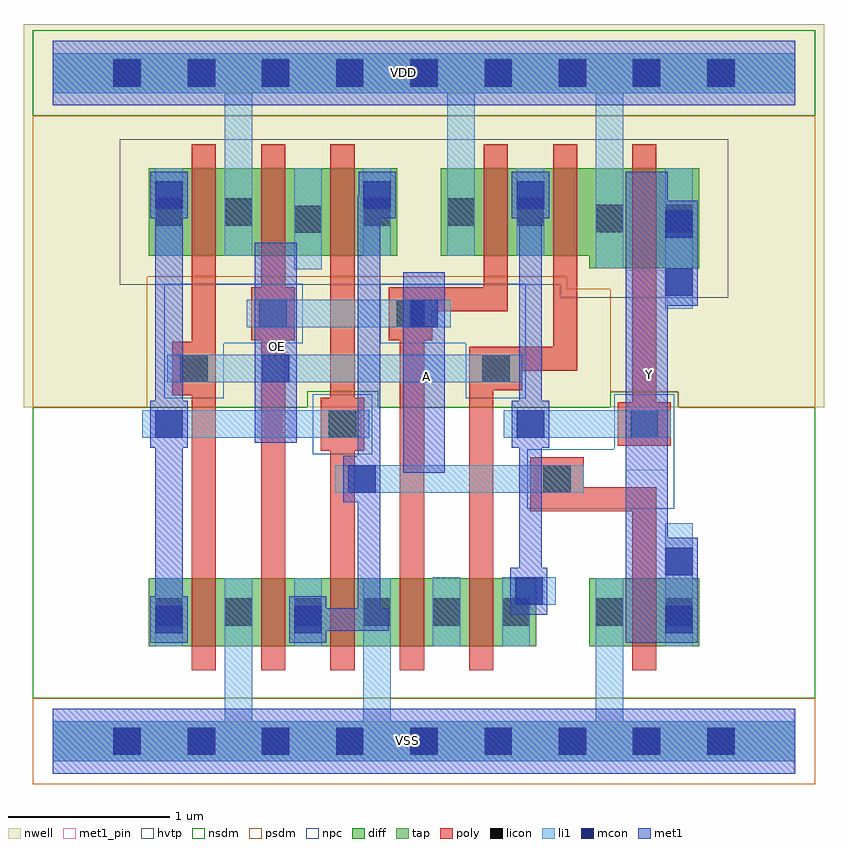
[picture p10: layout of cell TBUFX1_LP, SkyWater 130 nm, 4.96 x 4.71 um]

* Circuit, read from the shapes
.subckt TBUFX1_LP A OE VDD VSS Y
XM1 VSS OE n1 VSS sky130_fd_pr__nfet_01v8 w=0.42 l=0.15
XM2 n2 A VSS VSS sky130_fd_pr__nfet_01v8 w=0.42 l=0.15
XM3 VSS n1 n2 VSS sky130_fd_pr__nfet_01v8 w=0.42 l=0.15
XM4 n3 A VSS VSS sky130_fd_pr__nfet_01v8 w=0.42 l=0.15
XM5 n4 OE n3 VSS sky130_fd_pr__nfet_01v8 w=0.42 l=0.15
XM6 Y n2 VSS VSS sky130_fd_pr__nfet_01v8 w=0.42 l=0.15
XM7 VDD OE n1 VDD sky130_fd_pr__pfet_01v8_hvt w=0.54 l=0.15
XM8 n5 A VDD VDD sky130_fd_pr__pfet_01v8_hvt w=0.54 l=0.15
XM9 n2 n1 n5 VDD sky130_fd_pr__pfet_01v8_hvt w=0.54 l=0.15
XM10 n4 A VDD VDD sky130_fd_pr__pfet_01v8_hvt w=0.54 l=0.15
XM11 VDD OE n4 VDD sky130_fd_pr__pfet_01v8_hvt w=0.54 l=0.15
XM12 Y n4 VDD VDD sky130_fd_pr__pfet_01v8_hvt w=0.62 l=0.15
.ends

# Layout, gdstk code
import gdstk
lib = gdstk.Library(unit=1e-6, precision=1e-09)
def R(c, l, rs):  # rectangles x0, y0, x1, y1
    for r in rs: c.add(gdstk.rectangle(r[:2], r[2:], *l))
def A(c, l, x, y, w, h, nx, ny, dx, dy):  # array of equal rectangles
    R(c, l, [(x+i*dx, y+j*dy, x+i*dx+w, y+j*dy+h) for i in range(nx) for j in range(ny)])
def P(c, l, *ps):  # polygons
    for p in ps: c.add(gdstk.Polygon(p, *l))
nwell = (64, 20)
diff = (65, 20)
tap = (65, 44)
poly = (66, 20)
licon = (66, 44)
li1 = (67, 20)
mcon = (67, 44)
met1_pin = (68, 16)
met1 = (68, 20)
hvtp = (78, 44)
nsdm = (93, 44)
psdm = (94, 20)
npc = (95, 20)

pyl1con_c_cdns_758729379 = lib.new_cell('PYL1CON_C_CDNS_758729379653')
R(pyl1con_c_cdns_758729379, poly, [(-0.135,-0.165,0.135,0.165)])
R(pyl1con_c_cdns_758729379, licon, [(-0.085,-0.085,0.085,0.085)])
R(pyl1con_c_cdns_758729379, npc, [(-0.185,-0.185,0.185,0.185)])

c_pyl1con_c_cdns_758729379 = lib.new_cell('PYL1CON_C_CDNS_7587293796514')
R(c_pyl1con_c_cdns_758729379, poly, [(-0.165,-0.135,0.165,0.135)])
R(c_pyl1con_c_cdns_758729379, licon, [(-0.085,-0.085,0.085,0.085)])
R(c_pyl1con_c_cdns_758729379, npc, [(-0.185,-0.185,0.185,0.185)])

l1m1_c_cdns_758729379659 = lib.new_cell('L1M1_C_CDNS_758729379659')
R(l1m1_c_cdns_758729379659, li1, [(-0.085,-0.345,0.085,0.345)])
R(l1m1_c_cdns_758729379659, mcon, [(-0.085,-0.265,0.085,-0.095), (-0.085,0.095,0.085,0.265)])
R(l1m1_c_cdns_758729379659, met1, [(-0.115,-0.325,0.115,0.325)])

l1m1_c_cdns_758729379655 = lib.new_cell('L1M1_C_CDNS_758729379655')
R(l1m1_c_cdns_758729379655, li1, [(-0.085,-0.165,0.085,0.165)])
R(l1m1_c_cdns_758729379655, mcon, [(-0.085,-0.085,0.085,0.085)])
R(l1m1_c_cdns_758729379655, met1, [(-0.115,-0.145,0.115,0.145)])

l1m1_c_cdns_758729379654 = lib.new_cell('L1M1_C_CDNS_758729379654')
R(l1m1_c_cdns_758729379654, li1, [(-0.165,-0.085,0.165,0.085)])
R(l1m1_c_cdns_758729379654, mcon, [(-0.085,-0.085,0.085,0.085)])
R(l1m1_c_cdns_758729379654, met1, [(-0.115,-0.145,0.115,0.145)])

licondiff_c_cdns_7587293 = lib.new_cell('LICONDIFF_C_CDNS_758729379657')
R(licondiff_c_cdns_7587293, diff, [(-0.125,-0.145,0.125,0.145)])
R(licondiff_c_cdns_7587293, licon, [(-0.085,-0.085,0.085,0.085), (-0.085,-0.085,0.085,0.085)])

tbufx1_lp = lib.new_cell('TBUFX1_LP')
R(tbufx1_lp, nwell, [(-0.18,2.07,4.78,4.445)])
R(tbufx1_lp, diff, [(0.595,0.59,2.995,1.01), (3.325,0.59,4.005,1.01), (0.595,3.01,2.135,3.55)])
P(tbufx1_lp, diff, [(4.005,3.55),(2.405,3.55),(2.405,3.01),(3.325,3.01),(3.325,2.93),(4.005,2.93)])
A(tbufx1_lp, poly, 0.86, 0.44, 0.15, 3.26, 3, 1, 0.43, 0)
R(tbufx1_lp, poly, [(3.59,1.88,3.74,3.7)])
P(tbufx1_lp, poly, [(2.82,3.7),(2.67,3.7),(2.67,2.815),(2.225,2.815),(2.225,2.775),(2.15,2.775),(2.15,0.44),(2.3,0.44),(2.3,2.665),(2.82,2.665)],
  [(3.25,3.7),(3.1,3.7),(3.1,2.445),(2.58,2.445),(2.58,0.44),(2.73,0.44),(2.73,2.295),(3.25,2.295)],
  [(3.74,1.575),(2.96,1.575),(2.96,1.425),(3.59,1.425),(3.59,0.44),(3.74,0.44)])
A(tbufx1_lp, licon, 0.375, -0.085, 0.17, 0.17, 9, 2, 0.46, 4.14)
A(tbufx1_lp, licon, 0.635, 0.715, 0.17, 0.17, 4, 1, 0.43, 0)
R(tbufx1_lp, licon, [(2.785,0.715,2.955,0.885), (3.365,0.715,3.535,0.885), (3.795,0.715,3.965,0.885), (3.365,3.155,3.535,3.325), (3.795,3.155,3.965,3.325), (0.635,3.195,0.805,3.365), (1.065,3.195,1.235,3.365), (1.925,3.195,2.095,3.365), (2.445,3.195,2.615,3.365), (2.875,3.195,3.045,3.365)])
R(tbufx1_lp, li1, [(0.635,0.59,0.805,1.01), (1.495,0.59,1.665,1.01), (2.785,0.59,2.955,1.01), (3.795,0.59,3.965,1.35), (3.795,2.93,3.965,3.55), (0.635,3.01,0.805,3.55), (1.925,3.01,2.095,3.55), (2.875,3.01,3.045,3.55)])
P(tbufx1_lp, li1, [(4.6,4.265),(0,4.265),(0,4.015),(1.065,4.015),(1.065,3.01),(1.235,3.01),(1.235,4.015),(2.445,4.015),(2.445,3.01),(2.615,3.01),(2.615,4.015),(3.365,4.015),(3.365,2.93),(3.535,2.93),(3.535,4.015),(4.6,4.015)],
  [(4.6,0.125),(3.535,0.125),(3.535,1.01),(3.365,1.01),(3.365,0.125),(2.095,0.125),(2.095,1.01),(1.925,1.01),(1.925,0.125),(1.235,0.125),(1.235,1.01),(1.065,1.01),(1.065,0.125),(0,0.125),(0,-0.125),(4.6,-0.125)])
A(tbufx1_lp, mcon, 0.375, -0.085, 0.17, 0.17, 9, 2, 0.46, 4.14)
R(tbufx1_lp, met1_pin, [(2.17,1.665,2.43,2.905), (3.55,1.68,3.81,2.92), (1.25,1.85,1.51,3.09)])
P(tbufx1_lp, met1, [(2.08,0.825),(2.03,0.825),(2.03,3.385),(1.89,3.385),(1.89,0.825),(1.58,0.825),(1.58,0.685),(2.08,0.685)])
P(tbufx1_lp, hvtp, [(4.185,3.73),(0.415,3.73),(0.415,2.83),(3.145,2.83),(3.145,2.75),(4.185,2.75)])
R(tbufx1_lp, nsdm, [(-0.125,3.875,4.725,4.405)])
P(tbufx1_lp, nsdm, [(4.725,2.07),(3.875,2.07),(3.875,2.165),(3.455,2.165),(3.455,2.07),(2.015,2.07),(2.015,2.17),(1.575,2.17),(1.575,2.07),(-0.125,2.07),(-0.125,0.265),(4.725,0.265)])
R(tbufx1_lp, psdm, [(-0.125,-0.265,4.725,0.265)])
P(tbufx1_lp, psdm, [(4.725,3.875),(-0.125,3.875),(-0.125,2.07),(0.585,2.07),(0.585,2.88),(3.185,2.88),(3.185,2.8),(3.455,2.8),(3.455,2.165),(3.875,2.165),(3.875,2.07),(4.725,2.07)])
R(tbufx1_lp, npc, [(0.69,2.465,1.55,2.835), (2.03,2.465,2.93,2.835)])
P(tbufx1_lp, npc, [(3.85,2.15),(3.48,2.15),(3.48,1.81),(2.94,1.81),(2.94,1.44),(3.85,1.44)])
tbufx1_lp.add(gdstk.FlexPath([(1.58,2.925),(1.58,3.55)], 0.17, ends="flush", simple_path=True, layer=67, datatype=20))  # li1
tbufx1_lp.add(gdstk.FlexPath([(2.96,1.965),(3.83,1.965)], 0.17, ends="flush", simple_path=True, layer=67, datatype=20))  # li1
tbufx1_lp.add(gdstk.FlexPath([(3.29,1.625),(2.01,1.625)], 0.17, ends="flush", simple_path=True, layer=67, datatype=20))  # li1
tbufx1_lp.add(gdstk.FlexPath([(1.96,1.965),(0.72,1.965)], 0.17, ends="flush", simple_path=True, layer=67, datatype=20))  # li1
tbufx1_lp.add(gdstk.FlexPath([(2.44,0.59),(2.44,1.015)], 0.17, ends="flush", simple_path=True, layer=67, datatype=20))  # li1
tbufx1_lp.add(gdstk.FlexPath([(2.91,2.31),(0.71,2.31)], 0.17, ends="flush", simple_path=True, layer=67, datatype=20))  # li1
tbufx1_lp.add(gdstk.FlexPath([(2.45,2.65),(1.2,2.65)], 0.17, ends="flush", simple_path=True, layer=67, datatype=20))  # li1
tbufx1_lp.add(gdstk.FlexPath([(0,4.14),(4.6,4.14)], 0.25, ends="flush", simple_path=True, layer=65, datatype=44))  # tap
tbufx1_lp.add(gdstk.FlexPath([(0,0),(4.6,0)], 0.25, ends="flush", simple_path=True, layer=65, datatype=44))  # tap
tbufx1_lp.add(gdstk.FlexPath([(0,0),(4.59,0)], 0.4, ends="flush", simple_path=True, layer=68, datatype=16))  # met1_pin
tbufx1_lp.add(gdstk.FlexPath([(0,4.14),(4.6,4.14)], 0.4, ends="flush", simple_path=True, layer=68, datatype=16))  # met1_pin
tbufx1_lp.add(gdstk.FlexPath([(0,4.14),(4.6,4.14)], 0.4, ends="flush", simple_path=True, layer=68, datatype=20))  # met1
tbufx1_lp.add(gdstk.FlexPath([(0,0),(4.6,0)], 0.4, ends="flush", simple_path=True, layer=68, datatype=20))  # met1
tbufx1_lp.add(gdstk.FlexPath([(1.38,1.85),(1.38,3.09)], 0.26, ends="flush", simple_path=True, layer=68, datatype=20))  # met1
tbufx1_lp.add(gdstk.FlexPath([(3.68,0.61),(3.68,3.53)], 0.26, ends="flush", simple_path=True, layer=68, datatype=20))  # met1
tbufx1_lp.add(gdstk.FlexPath([(0.72,0.755),(0.72,3.385)], 0.17, ends="flush", simple_path=True, layer=68, datatype=20))  # met1
tbufx1_lp.add(gdstk.FlexPath([(2.3,1.665),(2.3,2.905)], 0.26, ends="flush", simple_path=True, layer=68, datatype=20))  # met1
tbufx1_lp.add(gdstk.FlexPath([(2.96,0.93),(2.96,3.385)], 0.14, ends="flush", simple_path=True, layer=68, datatype=20))  # met1
tbufx1_lp.add(gdstk.Reference(pyl1con_c_cdns_758729379, (1.795,1.965), x_reflection=True))
tbufx1_lp.add(gdstk.Reference(pyl1con_c_cdns_758729379, (2.215,2.65), x_reflection=True))
tbufx1_lp.add(gdstk.Reference(pyl1con_c_cdns_758729379, (0.875,2.31), x_reflection=True))
tbufx1_lp.add(gdstk.Reference(pyl1con_c_cdns_758729379, (1.365,2.65), x_reflection=True))
tbufx1_lp.add(gdstk.Reference(c_pyl1con_c_cdns_758729379, (3.125,1.625), x_reflection=True))
tbufx1_lp.add(gdstk.Reference(c_pyl1con_c_cdns_758729379, (3.665,1.965), x_reflection=True))
tbufx1_lp.add(gdstk.Reference(c_pyl1con_c_cdns_758729379, (2.745,2.31), x_reflection=True))
tbufx1_lp.add(gdstk.Reference(l1m1_c_cdns_758729379659, (3.88,3.025)))
tbufx1_lp.add(gdstk.Reference(l1m1_c_cdns_758729379659, (3.88,0.935)))
tbufx1_lp.add(gdstk.Reference(l1m1_c_cdns_758729379655, (0.72,3.385)))
tbufx1_lp.add(gdstk.Reference(l1m1_c_cdns_758729379655, (0.72,0.755)))
tbufx1_lp.add(gdstk.Reference(l1m1_c_cdns_758729379655, (2.01,3.385)))
tbufx1_lp.add(gdstk.Reference(l1m1_c_cdns_758729379655, (2.96,3.385)))
tbufx1_lp.add(gdstk.Reference(l1m1_c_cdns_758729379655, (1.58,0.755)))
tbufx1_lp.add(gdstk.Reference(l1m1_c_cdns_758729379654, (1.38,2.31), x_reflection=True))
tbufx1_lp.add(gdstk.Reference(l1m1_c_cdns_758729379654, (2.95,0.93)))
tbufx1_lp.add(gdstk.Reference(l1m1_c_cdns_758729379654, (2.96,1.965)))
tbufx1_lp.add(gdstk.Reference(l1m1_c_cdns_758729379654, (0.72,1.965)))
tbufx1_lp.add(gdstk.Reference(l1m1_c_cdns_758729379654, (2.3,2.65), x_reflection=True))
tbufx1_lp.add(gdstk.Reference(l1m1_c_cdns_758729379654, (1.915,1.625)))
tbufx1_lp.add(gdstk.Reference(licondiff_c_cdns_7587293, (1.58,3.235)))
tbufx1_lp.add(gdstk.Reference(licondiff_c_cdns_7587293, (2.44,0.8)))
tbufx1_lp.add(gdstk.Label('VDD', (2.175,4.145), layer=68, texttype=5))
tbufx1_lp.add(gdstk.Label('OE', (1.395,2.445), layer=68, texttype=5))
tbufx1_lp.add(gdstk.Label('Y', (3.695,2.275), layer=68, texttype=5))
tbufx1_lp.add(gdstk.Label('A', (2.315,2.26), layer=68, texttype=5))
tbufx1_lp.add(gdstk.Label('VSS', (2.195,0.005), layer=68, texttype=5))

lib.write_gds('TBUFX1_LP.gds')
